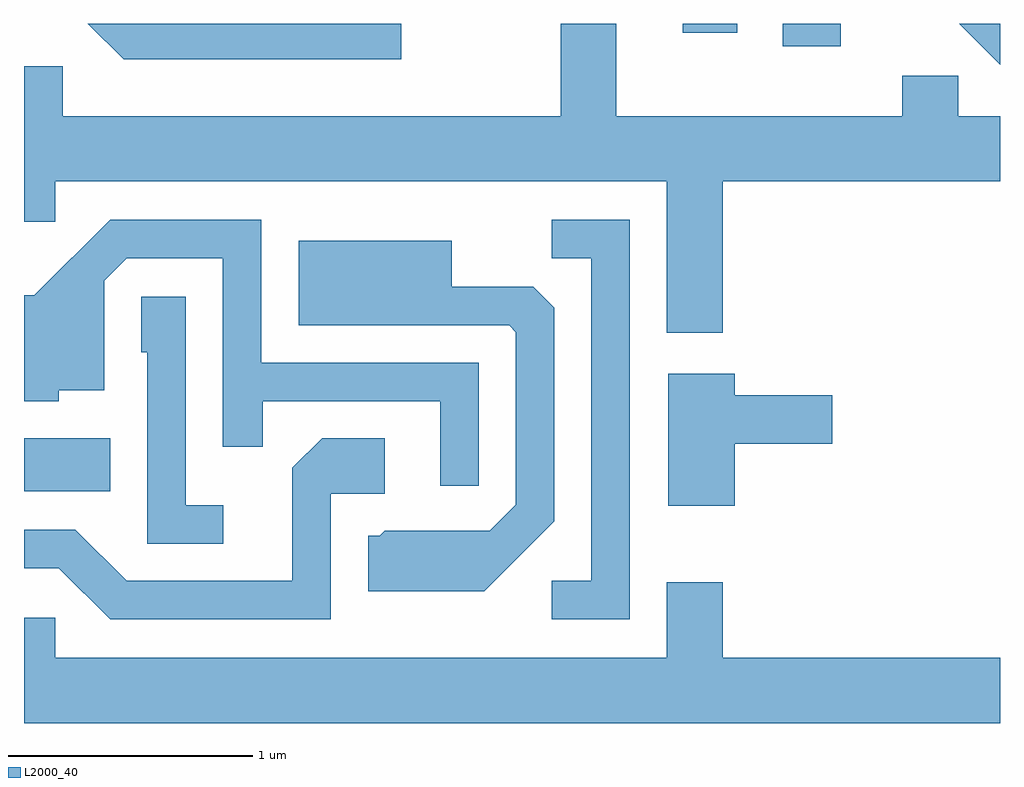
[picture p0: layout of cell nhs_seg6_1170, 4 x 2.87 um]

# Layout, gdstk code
import gdstk
lib = gdstk.Library(unit=1e-6, precision=1e-09)
def R(c, l, rs):  # rectangles x0, y0, x1, y1
    for r in rs: c.add(gdstk.rectangle(r[:2], r[2:], *l))
def P(c, l, *ps):  # polygons
    for p in ps: c.add(gdstk.Polygon(p, *l))
L2000_40 = (2000, 40)

nhs_seg6_1170 = lib.new_cell('nhs_seg6_1170')
R(nhs_seg6_1170, L2000_40, [(219.611,1624.246,219.964,1624.464), (222.721,1626.071,222.958,1626.162), (222.311,1626.126,222.534,1626.162)])
P(nhs_seg6_1170, L2000_40, [(222.474,1625.516),(223.611,1625.516),(223.611,1625.784),(223.439,1625.784),(223.439,1625.949),(223.211,1625.949),(223.211,1625.784),(222.039,1625.784),(222.039,1626.162),(221.811,1626.162),(221.811,1625.784),(219.769,1625.784),(219.769,1625.989),(219.611,1625.989),(219.611,1625.351),(219.739,1625.351),(219.739,1625.516),(222.246,1625.516),(222.246,1624.896),(222.474,1624.896)],
  [(223.611,1626.162),(223.443,1626.162),(223.611,1625.994)],
  [(221.158,1626.162),(219.873,1626.162),(220.019,1626.016),(221.158,1626.016)],
  [(222.094,1625.359),(221.773,1625.359),(221.773,1625.201),(221.936,1625.201),(221.936,1623.879),(221.773,1623.879),(221.773,1623.721),(222.094,1623.721)],
  [(221.474,1624.774),(220.584,1624.774),(220.584,1625.359),(219.964,1625.359),(219.654,1625.049),(219.611,1625.049),(219.611,1624.616),(219.754,1624.616),(219.754,1624.661),(219.939,1624.661),(219.939,1625.109),(220.032,1625.201),(220.426,1625.201),(220.426,1624.428),(220.589,1624.428),(220.589,1624.616),(221.316,1624.616),(221.316,1624.268),(221.474,1624.268)],
  [(221.784,1624.124),(221.784,1624.999),(221.699,1625.084),(221.364,1625.084),(221.364,1625.274),(220.736,1625.274),(220.736,1624.926),(221.599,1624.926),(221.626,1624.899),(221.626,1624.192),(221.519,1624.084),(221.089,1624.084),(221.069,1624.064),(221.021,1624.064),(221.021,1623.836),(221.497,1623.836)],
  [(220.428,1624.189),(220.274,1624.189),(220.274,1625.044),(220.091,1625.044),(220.091,1624.816),(220.116,1624.816),(220.116,1624.031),(220.428,1624.031)],
  [(222.524,1624.441),(222.924,1624.441),(222.924,1624.639),(222.524,1624.639),(222.524,1624.729),(222.251,1624.729),(222.251,1624.186),(222.524,1624.186)],
  [(220.869,1624.236),(221.089,1624.236),(221.089,1624.464),(220.834,1624.464),(220.711,1624.342),(220.711,1623.879),(220.032,1623.879),(219.822,1624.089),(219.611,1624.089),(219.611,1623.931),(219.754,1623.931),(219.964,1623.721),(220.869,1623.721)],
  [(223.611,1623.564),(222.474,1623.564),(222.474,1623.874),(222.246,1623.874),(222.246,1623.564),(219.739,1623.564),(219.739,1623.729),(219.611,1623.729),(219.611,1623.296),(223.611,1623.296)])

lib.write_gds('nhs_seg6_1170.gds')
